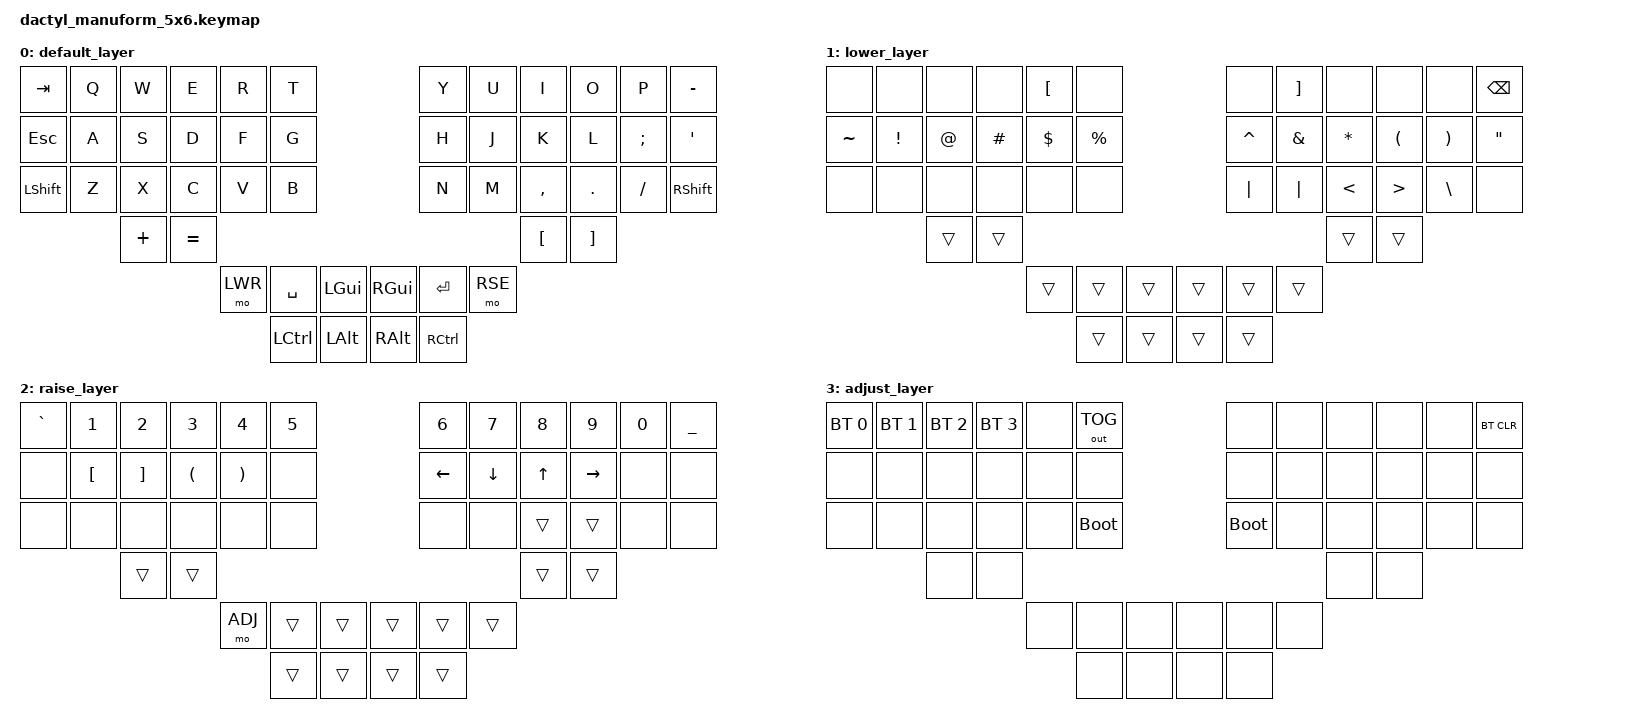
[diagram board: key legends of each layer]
#include <behaviors.dtsi>
#include <dt-bindings/zmk/keys.h>
#include <dt-bindings/zmk/bt.h>
#include <dt-bindings/zmk/outputs.h>

#define DEFAULT 0
#define LWR 1
#define RSE 2
#define ADJ 3

/ {
    keymap {
        compatible = "zmk,keymap";

        default_layer {
            bindings = <
                &kp TAB   &kp Q  &kp W    &kp E  &kp R  &kp T                                &kp Y  &kp U  &kp I     &kp O   &kp P    &kp MINUS
                &kp ESC   &kp A  &kp S    &kp D  &kp F  &kp G                                &kp H  &kp J  &kp K     &kp L   &kp SEMI &kp SQT
                &kp LSHFT &kp Z  &kp X    &kp C  &kp V  &kp B                                &kp N  &kp M  &kp COMMA &kp DOT &kp FSLH &kp RSHFT
                                 &kp PLUS &kp EQUAL                                                        &kp LBKT  &kp RBKT
                                                 &mo LWR  &kp SPACE &kp LGUI     &kp RGUI  &kp RET  &mo RSE
                                                          &kp LCTRL &kp LALT     &kp RALT  &kp RCTRL
            >;
        };

        lower_layer {
            bindings = <
                &none     &none    &none    &none      &kp LBKT &none           &none     &kp RBKT &none    &none     &none     &kp BSPC
                &kp TILDE &kp EXCL &kp AT   &kp HASH   &kp DLLR &kp PRCNT       &kp CARET &kp AMPS &kp STAR &kp LPAR  &kp RPAR  &kp DQT
                &none     &none    &none    &none      &none    &none           &kp PIPE  &kp PIPE &kp LT   &kp GT    &kp BSLH  &none
                                   &trans   &trans                                                   &trans &trans
                                                       &trans   &trans &trans   &trans &trans &trans
                                                                &trans &trans   &trans &trans
            >;
        };

        raise_layer {
            bindings = <
                &kp GRAVE &kp N1   &kp N2   &kp N3     &kp N4   &kp N5          &kp N6    &kp N7   &kp N8   &kp N9    &kp N0   &kp UNDER
                &none   &kp LBKT &kp RBKT &kp LPAR   &kp RPAR &none           &kp LEFT  &kp DOWN &kp UP   &kp RIGHT &none    &none
                &none   &none    &none    &none      &none    &none           &none     &none    &trans   &trans    &none    &none
                                   &trans &trans                                                 &trans   &trans
                                                     &mo ADJ  &trans &trans   &trans &trans &trans
                                                              &trans &trans   &trans &trans
            >;
        };

        adjust_layer {
            bindings = <
                &bt BT_SEL 0 &bt BT_SEL 1 &bt BT_SEL 2 &bt BT_SEL 3 &none  &out OUT_TOG     &none  &none  &none &none &none &bt BT_CLR
                &none        &none        &none        &none        &none  &none            &none  &none  &none &none &none &none
                &none        &none        &none        &none        &none  &bootloader      &bootloader &none  &none &none &none &none
                                          &none        &none                                            &none &none
                                                                    &none &none &none       &none &none &none
                                                                          &none &none       &none &none
            >;
        };
    };
};
